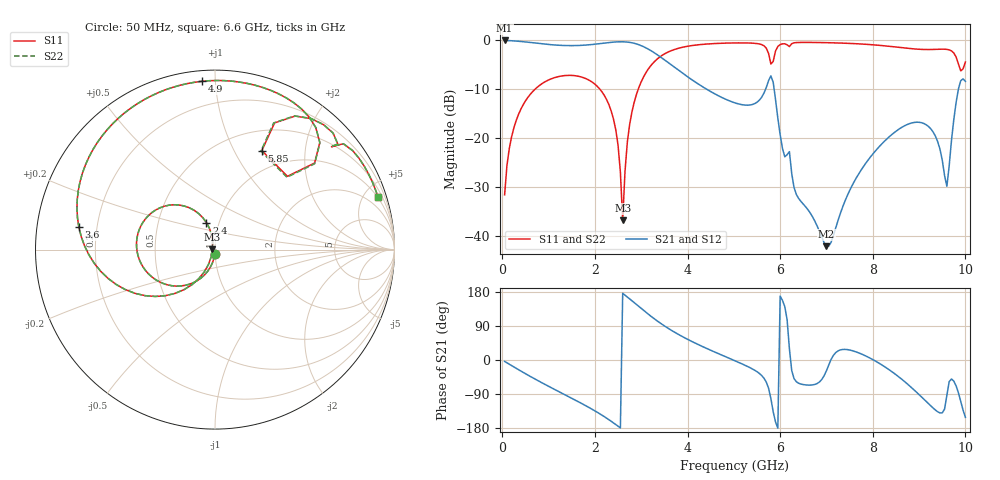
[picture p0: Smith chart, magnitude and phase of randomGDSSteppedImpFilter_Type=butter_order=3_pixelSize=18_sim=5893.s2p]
! freq	dB(S11)	phase(S11)	dB(S12)	phase(S12)
!  dB(S21)	phase(S21)	dB(S22)	phase(S22)
!S-par simulation data
#  GHz  S  DB  R 50
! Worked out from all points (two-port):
!   200 points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, 50 MHz to 10 GHz, reference 50 ohm
!   highest |S21| = -0.01 dB at 50 MHz (marker M1); lowest = -42.1 dB at 7 GHz (marker M2)
!   |S21| within 3 dB of the highest: start of sweep to 3.359 GHz
!   lowest |S11| = -36.8 dB at 2.6 GHz (marker M3), VSWR 1.03, Z = 48.6 + j0.164 ohm
!   |S11| at or under -10 dB: start of sweep to 705 MHz; 2.109 GHz to 2.935 GHz (825.8 MHz wide, 32.7 % of centre)
!   |S22| runs from -36.8 to -0.4 dB; largest |S21 - S12| = 0
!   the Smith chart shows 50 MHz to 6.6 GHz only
!   S11 on the Smith chart (normalised r, x): 50 MHz: 1.00, -0.05; 2.4 GHz: 0.87, +0.27; 3.6 GHz: 0.13, +0.08; 4.9 GHz: 0.06, +0.92; 5.85 GHz: 0.74, +1.30; 6.6 GHz: 0.96, +6.25
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0.05  -31.58 -93.7  -0.01 -3.7  -0.01 -3.7  -31.58 -93.7
0.2  -19.74 -105.0  -0.07 -14.7  -0.07 -14.7  -19.74 -105.0
0.5  -12.38 -126.6  -0.31 -36.1  -0.31 -36.1  -12.38 -126.6
1.75  -7.61 152.9  -0.99 -117.1  -0.99 -117.1  -7.61 152.9
2.4  -16.04 107.6  -0.35 -165.8  -0.35 -165.8  -16.04 107.5
2.6  -36.76 173.3  -0.28 175.9  -0.28 175.9  -36.78 173.3
2.8  -14.60 -119.2  -0.49 156.2  -0.49 156.2  -14.60 -119.2
3.4  -3.39 -173.5  -3.28 98.3  -3.28 98.3  -3.39 -173.5
3.6  -2.29 170.7  -4.66 82.2  -4.66 82.2  -2.29 170.7
4.9  -0.53 94.5  -12.34 4.5  -12.34 4.5  -0.53 94.5
5.05  -0.51 86.8  -12.85 -3.4  -12.85 -3.4  -0.51 86.7
5.7  -1.57 45.6  -9.63 -58.1  -9.63 -58.1  -1.59 45.4
5.85  -4.29 64.7  -8.56 -136.7  -8.56 -136.7  -4.36 65.0
6.05  -0.70 48.9  -22.08 157.5  -22.08 157.5  -0.71 49.2
6.6  -0.41 17.8  -34.61 -66.2  -34.61 -66.2  -0.41 17.8
6.7  -0.41 12.2  -36.07 -65.7  -36.07 -65.7  -0.41 12.2
7  -0.46 -4.5  -42.07 -28.2  -42.07 -28.2  -0.46 -4.5
8.35  -1.20 -98.3  -19.74 -25.4  -19.74 -25.4  -1.20 -98.6
9.05  -1.84 -177.7  -16.82 -97.2  -16.82 -97.2  -1.85 -178.4
9.6  -1.84 103.0  -29.83 -93.0  -29.83 -93.0  -1.83 102.1
9.85  -4.82 65.9  -9.90 -86.8  -9.90 -86.8  -4.79 65.1
10  -4.42 81.8  -8.36 -151.3  -8.36 -151.3  -4.38 80.7
